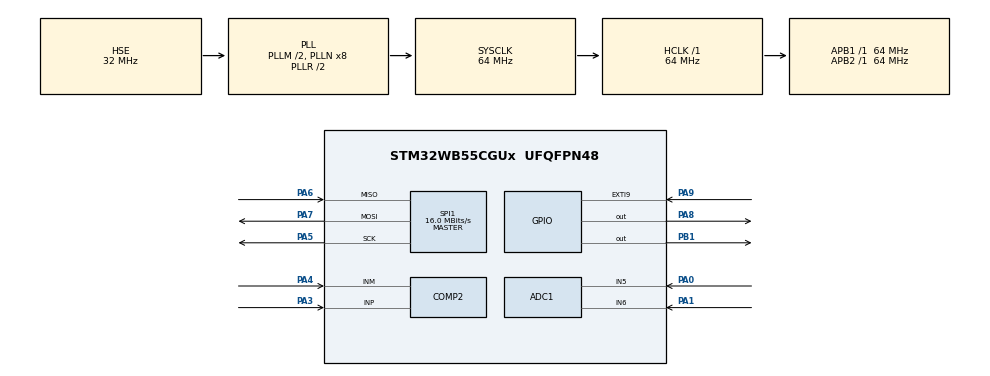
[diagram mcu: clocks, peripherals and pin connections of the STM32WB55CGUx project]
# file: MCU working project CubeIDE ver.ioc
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Mcu.Family=STM32WB
STM32_WPAN.SERVICE1_CHAR2_LONG_NAME=Phone_to_mcu_data_char
STM32_WPAN.SERVICE1_CHAR4_PROP_BROADCAST=\ 
STM32_WPAN.SERVICE1_CHAR5_SHORT_NAME=mcu_p_spcb
PA6.Mode=Full_Duplex_Master
RCC.CortexFreq_Value=64000000
SPI1.VirtualType=VM_MASTER
RF1.Signal=RF_RF1
Dma.ADC1.0.Polarity=HAL_DMAMUX_REQ_GEN_RISING
STM32_WPAN.CUSTOM_TEMPLATE=Enabled
STM32_WPAN.AD_TYPE_MANUFACTURER_SPECIFIC_DATA_COMPANY_IDENTIFIER=FF,FF
VP_RTC_VS_RTC_Activate.Mode=RTC_Enabled
RCC.SYSCLKSource=RCC_SYSCLKSOURCE_PLLCLK
ProjectManager.StackSize=0x10000
STM32_WPAN.SERVICE1_CHAR5_GATT_NOTIFY_WRITE_REQ_AND_WAIT_FOR_APPL_RESP=\ 
STM32_WPAN.NUMBER_OF_SERVICES=1
STM32_WPAN.SERVICE1_CHAR5_UUID=AD 06
PA4.Mode=INM
RCC.ADCCLockSelection=RCC_ADCCLKSOURCE_SYSCLK
SPI1.Direction=SPI_DIRECTION_2LINES
RCC.HCLKFreq_Value=64000000
STM32_WPAN.SERVICE1_CHAR3_LONG_NAME=MCU_to_phone_CPS_char
RCC.APB2TimFreq_Value=64000000
Dma.ADC1.0.Direction=DMA_PERIPH_TO_MEMORY
ADC1.InjNumberOfConversion=1
SPI1.CalculateBaudRate=16.0 MBits/s
STM32_WPAN.SERVICE1_CHAR4_GATT_NOTIFY_WRITE_REQ_AND_WAIT_FOR_APPL_RESP=\ 
STM32_WPAN.CFG_TX_POWER=(0x1F) /* 6dBm */
OSC_OUT.Mode=HSE-External-Oscillator
OSC_OUT.Signal=RCC_OSC_OUT
Dma.ADC1.0.MemDataAlignment=DMA_MDATAALIGN_HALFWORD
RCC.AHBFreq_Value=64000000
ADC1.Channel-0\#ChannelRegularConversion=ADC_CHANNEL_5
STM32_WPAN.SERVICE1_CHAR2_PROP_WRITE_WITHOUT_RESP=CHAR_PROP_WRITE_WITHOUT_RESP
RCC.HSE_VALUE=32000000
RCC.RTCClockSelection=RCC_RTCCLKSOURCE_LSE
STM32_WPAN.SERVICE1_CHAR1_UUID=AD 02
STM32_WPAN.PAIRING_PARAMETERS=OFF
STM32_WPAN.SERVICE1_UUID=AD 01
PC14-OSC32_IN.Mode=LSE-External-Oscillator
PB1.GPIO_Speed=GPIO_SPEED_FREQ_HIGH
PA14.Mode=Serial_Wire
STM32_WPAN.SERVICE1_SHORT_NAME=MMCUSer
STM32_WPAN.SERVICE1_CHAR5_LONG_NAME=MCU_to_phone_cpcb_char
Dma.ADC1.0.PeriphInc=DMA_PINC_DISABLE
SPI1.DataSize=SPI_DATASIZE_8BIT
STM32_WPAN.SERVICE1_CHAR3_PROP_READ=CHAR_PROP_READ
PA8.Signal=GPIO_Output
STM32_WPAN.INCLUDE_AD_TYPE_SHORTENED_LOCAL_NAME=1
STM32_WPAN.SERVICE1_CHAR2_PROP_BROADCAST=\ 
STM32_WPAN.INCLUDE_AD_TYPE_ADVERTISING_INTERVAL=0
STM32_WPAN.SERVICE1_CHAR2_GATT_NOTIFY_WRITE_REQ_AND_WAIT_FOR_APPL_RESP=\ 
ADC1.SamplingTime-0\#ChannelRegularConversion=ADC_SAMPLETIME_2CYCLES_5
PA0.Signal=ADCx_IN5
RCC.APB3Freq_Value=16000000
STM32_WPAN.SERVICE1_CHAR2_PROP_READ=CHAR_PROP_READ
STM32_WPAN.SERVICE1_CHAR2_VALUE_LENGTH=240
NVIC.HSEM_IRQn=true\:1\:0\:true\:false\:true\:false\:true
Mcu.Package=UFQFPN48
COMP2.Hysteresis=COMP_HYSTERESIS_MEDIUM
PB1.Signal=GPIO_Output
PA6.Signal=SPI1_MISO
STM32_WPAN.SERVICE1_CHAR3_VALUE_LENGTH=16
ADC1.EnableInjectedConversion=ENABLE
STM32_WPAN.INCLUDE_AD_TYPE_APPEARANCE=0
STM32_WPAN.SERVICE1_CHAR5_PROP_BROADCAST=\ 
STM32_WPAN.SERVICE1_CHAR4_SHORT_NAME=mcu_p_data
VP_TINY_LPM_VS_TINY_LPM.Mode=TINY_LPM_Enabled
ADC1.Rank1_Channel=ADC_CHANNEL_6
STM32_WPAN.AD_TYPE_SHORTENED_LOCAL_NAME_LENGTH=6
VP_HSEM_VS_HSEM.Mode=HSEM_Activate
STM32_WPAN.CFG_GAP_DEVICE_NAME=zombio_o
RCC.APB1TimFreq_Value=64000000
STM32_WPAN.SERVICE1_CHAR5_GATT_NOTIFY_READ_REQ_AND_WAIT_FOR_APPL_RESP=\ 
ADC1.InjectedOffsetNumber-1\#ChannelInjectedConversion=ADC_OFFSET_NONE
STM32_WPAN.SERVICE1_NUMBER_OF_CHARACTERISTICS=5
ADC1.InjectedSamplingTime-1\#ChannelInjectedConversion=ADC_SAMPLETIME_640CYCLES_5
Dma.Request0=ADC1
SPI1.BaudRatePrescaler=SPI_BAUDRATEPRESCALER_4
ADC1.InjectedChannel-1\#ChannelInjectedConversion=ADC_CHANNEL_6
PA8.GPIO_Speed=GPIO_SPEED_FREQ_HIGH
Dma.ADC1.0.EventEnable=DISABLE
RCC.HSI48_VALUE=48000000
STM32_WPAN.SERVICE1_CHAR4_LONG_NAME=MCU_to_phone_data_char
PA8.PinState=GPIO_PIN_SET
STM32_WPAN.INCLUDE_AD_TYPE_MANUFACTURER_SPECIFIC_DATA=1
PA3.Signal=COMP2_INP
PA5.Mode=Full_Duplex_Master
RCC.PLLSourceVirtual=RCC_PLLSOURCE_HSE
PC15-OSC32_OUT.Mode=LSE-External-Oscillator
STM32_WPAN.SERVICE1_CHAR2_SHORT_NAME=p_mcu_data
Dma.ADC1.0.Instance=DMA1_Channel1
ADC1.Rank-0\#ChannelRegularConversion=1
PA7.Mode=Full_Duplex_Master
VP_STM32_WPAN_VS_BLE_HOST.Mode=STM32_WPAN_Enabled
Dma.ADC1.0.SyncRequestNumber=1
SH.ADCx_IN6.0=ADC1_IN6,IN6-Single-Ended
STM32_WPAN.SERVICE1_CHAR4_GATT_NOTIFY_READ_REQ_AND_WAIT_FOR_APPL_RESP=\ 
ADC1.OffsetNumber-0\#ChannelRegularConversion=ADC_OFFSET_NONE
STM32_WPAN.INCLUDE_AD_TYPE_TX_POWER_LEVEL=1
STM32_WPAN.SERVICE1_CHAR1_PROP_BROADCAST=\ 
STM32_WPAN.SERVICE1_CHAR5_PROP_READ=CHAR_PROP_READ
STM32_WPAN.INCLUDE_AD_TYPE_URI=0
STM32_WPAN.SERVICE1_CHAR1_GATT_NOTIFY_WRITE_REQ_AND_WAIT_FOR_APPL_RESP=\ 
STM32_WPAN.SERVICE1_CHAR5_VALUE_LENGTH=20
PC14-OSC32_IN.Signal=RCC_OSC32_IN
STM32_WPAN.SERVICE1_CHAR3_GATT_NOTIFY_READ_REQ_AND_WAIT_FOR_APPL_RESP=\ 
RCC.AHB2CLKDivider=RCC_SYSCLK_DIV2
STM32_WPAN.SERVICE1_CHAR4_VALUE_LENGTH=240
STM32_WPAN.SERVICE1_CHAR4_UUID=AD 05
PA13.Signal=SYS_JTMS-SWDIO
PA3.Mode=INP
STM32_WPAN.AD_TYPE_MANUFACTURER_DATA_NBR=2
Dma.ADC1.0.PeriphDataAlignment=DMA_PDATAALIGN_HALFWORD
ProjectManager.TargetToolchain=STM32CubeIDE
STM32_WPAN.SERVICE1_CHAR5_PROP_NOTIFY=CHAR_PROP_NOTIFY
Dma.ADC1.0.Mode=DMA_CIRCULAR
STM32_WPAN.SERVICE1_CHAR3_PROP_NOTIFY=CHAR_PROP_NOTIFY
Dma.ADC1.0.SignalID=NONE
STM32_WPAN.SERVICE1_CHAR2_GATT_NOTIFY_READ_REQ_AND_WAIT_FOR_APPL_RESP=\ 
Dma.ADC1.0.SyncSignalID=NONE
STM32_WPAN.SERVICE1_CHAR4_PROP_NOTIFY=CHAR_PROP_NOTIFY
Dma.ADC1.0.Priority=DMA_PRIORITY_VERY_HIGH
PA9.Signal=GPXTI9
STM32_WPAN.INCLUDE_AD_TYPE_COMPLETE_LOCAL_NAME=0
STM32_WPAN.CUSTOM_P2P_SERVER=Disabled
OSC_IN.Signal=RCC_OSC_IN
RCC.USBFreq_Value=64000000
PC15-OSC32_OUT.Signal=RCC_OSC32_OUT
PA1.Signal=ADCx_IN6
PA5.Signal=SPI1_SCK
STM32_WPAN.SERVICE1_LONG_NAME=MainMCUService
STM32_WPAN.SERVICE1_CHAR4_PROP_READ=CHAR_PROP_READ
board=custom
STM32_WPAN.SERVICE1_CHAR1_GATT_NOTIFY_READ_REQ_AND_WAIT_FOR_APPL_RESP=\ 
VP_SEQUENCER_VS_SEQUENCER.Mode=SEQUENCER_Enabled
STM32_WPAN.AD_TYPE_COMPLETE_LOCAL_NAME_LENGTH=13
RCC.VCOOutputFreq_Value=128000000
Dma.ADC1.0.SyncPolarity=HAL_DMAMUX_SYNC_NO_EVENT
RCC.APB2Freq_Value=64000000
STM32_WPAN.AD_TYPE_MANUFACTURER_DATA_1=CA
SPI1.Mode=SPI_MODE_MASTER
STM32_WPAN.AD_TYPE_MANUFACTURER_DATA_2=FE
NVIC.COMP_IRQn=true\:0\:0\:false\:false\:true\:false\:true
RCC.ADCFreq_Value=64000000
STM32_WPAN.AD_TYPE_COMPLETE_LOCAL_NAME=ZSpectrum_XX
STM32_WPAN.SERVICE1_CHAR3_GATT_NOTIFY_WRITE_REQ_AND_WAIT_FOR_APPL_RESP=\ 
STM32_WPAN.SERVICE1_CHAR3_SHORT_NAME=mcu_p_cps
STM32_WPAN.SERVICE1_CHAR1_PROP_WRITE_WITHOUT_RESP=CHAR_PROP_WRITE_WITHOUT_RESP
PA13.Mode=Serial_Wire
Mcu.Name=STM32WB55CGUx
STM32_WPAN.SERVICE1_CHAR2_UUID=AD 03
STM32_WPAN.SERVICE1_CHAR3_PROP_BROADCAST=\ 
STM32_WPAN.SERVICE1_CHAR1_SHORT_NAME=p_mcu_cmd
PA4.Signal=COMP2_INM
RCC.SYSCLKFreq_VALUE=64000000
ADC1.master=1
ADC1.InjMonitoredBy-1\#ChannelInjectedConversion=__NULL
OSC_IN.Mode=HSE-External-Oscillator
STM32_WPAN.SERVICE1_CHAR1_VALUE_LENGTH=20
RF1.Mode=RF1_Activate
Dma.ADC1.0.RequestNumber=1
NVIC.EXTI9_5_IRQn=true\:1\:0\:true\:false\:true\:true\:true
Dma.ADC1.0.SyncEnable=DISABLE
PA14.Signal=SYS_JTCK-SWCLK
Dma.ADC1.0.MemInc=DMA_MINC_ENABLE
ProjectManager.HeapSize=0x400
RCC.HSI_VALUE=16000000
SH.ADCx_IN5.0=ADC1_IN5,IN5-Single-Ended
NVIC.PriorityGroup=NVIC_PRIORITYGROUP_4
ADC1.NbrOfConversionFlag=1
RCC.PLLM=RCC_PLLM_DIV2
PA9.GPIO_ModeDefaultEXTI=GPIO_MODE_IT_RISING_FALLING
STM32_WPAN.SERVICE1_CHAR1_LONG_NAME=Phone_to_mcu_command_char
ADC1.InjectedRank-1\#ChannelInjectedConversion=1
COMP2.TriggerMode=COMP_TRIGGERMODE_IT_RISING
NVIC.DMA1_Channel1_IRQn=true\:1\:0\:true\:false\:true\:false\:true
RCC.APB1Freq_Value=64000000
RCC.RFWKPClockSelection=RCC_RFWKPCLKSOURCE_LSE
STM32_WPAN.SERVICE1_CHAR3_UUID=AD 04
STM32_WPAN.AD_TYPE_SHORTENED_LOCAL_NAME=ZS_XX
PA7.Signal=SPI1_MOSI

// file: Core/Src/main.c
/* USER CODE BEGIN Header */
/**
  ******************************************************************************
  * @file           : main.c
  * @brief          : Main program body
  ******************************************************************************
  * @attention
  *
  * <h2><center>&copy; Copyright (c) 2021 STMicroelectronics.
  * All rights reserved.</center></h2>
  *
  * This software component is licensed by ST under Ultimate Liberty license
  * SLA0044, the "License"; You may not use this file except in compliance with
  * the License. You may obtain a copy of the License at:
  *                             www.st.com/SLA0044
  *
  ******************************************************************************
  */
/* USER CODE END Header */
#include "main.h"
#include "app_entry.h"
#include "app_common.h"

/* USER CODE BEGIN Includes */
#include "stm32_seq.h"
#include "System.h"
#include "SequencerTasks.h"
/* USER CODE END Includes */

ADC_HandleTypeDef hadc1;
DMA_HandleTypeDef hdma_adc1;

COMP_HandleTypeDef hcomp2;

RTC_HandleTypeDef hrtc;

SPI_HandleTypeDef hspi1;

void SystemClock_Config(void);
static void MX_GPIO_Init(void);
static void MX_DMA_Init(void);
static void MX_ADC1_Init(void);
static void MX_RF_Init(void);
static void MX_RTC_Init(void);
static void MX_COMP2_Init(void);
static void MX_SPI1_Init(void);

/* USER CODE BEGIN 0 */
extern uint8_t ad_data[];
/* USER CODE END 0 */

int main(void)
{
  /* USER CODE BEGIN 1 */
	InitSystemStructure();
  __enable_irq();
  /* USER CODE END 1 */

  /* MCU Configuration--------------------------------------------------------*/

  /* Reset of all peripherals, Initializes the Flash interface and the Systick. */
  HAL_Init();

  /* Configure the system clock */
  SystemClock_Config();

  /* Initialize all configured peripherals */
  MX_GPIO_Init();
  MX_DMA_Init();
  MX_ADC1_Init();
  MX_RF_Init();
  MX_RTC_Init();
  MX_COMP2_Init();
  MX_SPI1_Init();
  /* USER CODE BEGIN 2 */
  HAL_Delay(10);
  sys.tim16.initTimer();
  sys.tim17.initialize();
  sys.tim2.initialize();
  SPI1->CR1 |= SPI_CR1_SPE;
  if (sys.uSD.isAvailable())
  {
	  sys.fs.initialize("Project name:ZSpectrum\nVersion: 0.0.1", 1);
	  sys.fs.downloadSystemSettingsInfo(&sys.settings);
  }
  sys.dma.initialize(sys.settings.countsToDma);
  ad_data[8] = sys.settings.deviceNumber[0];
  ad_data[9] = sys.settings.deviceNumber[1];
  sys.adc.calibrateAndReinit();
  HAL_Delay(100);

  //reg tasks

  UTIL_SEQ_RegTask(1 << USER_TASK_PROCESS_FCW, UTIL_SEQ_RFU, ST_rf_ProcessFirstCharWrite);
  UTIL_SEQ_RegTask(1 << USER_TASK_PROCESS_SCW, UTIL_SEQ_RFU, ST_rf_ProcessSecondCharWrite);
  UTIL_SEQ_RegTask(1 << USER_TASK_UPDATE_CPS_CHAR, UTIL_SEQ_RFU, ST_rf_UpdateCPS);
  UTIL_SEQ_RegTask(1 << USER_TASK_INITIALIZE_FS, UTIL_SEQ_RFU, ST_fs_Initialize);
  UTIL_SEQ_RegTask(1 << USER_TASK_SAVE_SPECTR_POST_DELAYED, UTIL_SEQ_RFU, ST_fs_SaveSpectrPostDelayed);

  sys.tim17.turnOn();

  /* USER CODE END 2 */

  /* Init code for STM32_WPAN */
  APPE_Init();
  /* Infinite loop */
  while (1)
  {
	  UTIL_SEQ_Run(~0);
  }
}

void SystemClock_Config(void)
{
  RCC_OscInitTypeDef RCC_OscInitStruct = {0};
  RCC_ClkInitTypeDef RCC_ClkInitStruct = {0};
  RCC_PeriphCLKInitTypeDef PeriphClkInitStruct = {0};

  /** Configure LSE Drive Capability
  */
  HAL_PWR_EnableBkUpAccess();
  __HAL_RCC_LSEDRIVE_CONFIG(RCC_LSEDRIVE_LOW);
  /** Configure the main internal regulator output voltage
  */
  __HAL_PWR_VOLTAGESCALING_CONFIG(PWR_REGULATOR_VOLTAGE_SCALE1);
  /** Initializes the RCC Oscillators according to the specified parameters
  * in the RCC_OscInitTypeDef structure.
  */
  RCC_OscInitStruct.OscillatorType = RCC_OSCILLATORTYPE_HSI|RCC_OSCILLATORTYPE_HSE
                              |RCC_OSCILLATORTYPE_LSE;
  RCC_OscInitStruct.HSEState = RCC_HSE_ON;
  RCC_OscInitStruct.LSEState = RCC_LSE_ON;
  RCC_OscInitStruct.HSIState = RCC_HSI_ON;
  RCC_OscInitStruct.HSICalibrationValue = RCC_HSICALIBRATION_DEFAULT;
  RCC_OscInitStruct.PLL.PLLState = RCC_PLL_ON;
  RCC_OscInitStruct.PLL.PLLSource = RCC_PLLSOURCE_HSE;
  RCC_OscInitStruct.PLL.PLLM = RCC_PLLM_DIV2;
  RCC_OscInitStruct.PLL.PLLN = 8;
  RCC_OscInitStruct.PLL.PLLP = RCC_PLLP_DIV2;
  RCC_OscInitStruct.PLL.PLLR = RCC_PLLR_DIV2;
  RCC_OscInitStruct.PLL.PLLQ = RCC_PLLQ_DIV2;
  if (HAL_RCC_OscConfig(&RCC_OscInitStruct) != HAL_OK)
  {
    Error_Handler();
  }
  /** Configure the SYSCLKSource, HCLK, PCLK1 and PCLK2 clocks dividers
  */
  RCC_ClkInitStruct.ClockType = RCC_CLOCKTYPE_HCLK4|RCC_CLOCKTYPE_HCLK2
                              |RCC_CLOCKTYPE_HCLK|RCC_CLOCKTYPE_SYSCLK
                              |RCC_CLOCKTYPE_PCLK1|RCC_CLOCKTYPE_PCLK2;
  RCC_ClkInitStruct.SYSCLKSource = RCC_SYSCLKSOURCE_PLLCLK;
  RCC_ClkInitStruct.AHBCLKDivider = RCC_SYSCLK_DIV1;
  RCC_ClkInitStruct.APB1CLKDivider = RCC_HCLK_DIV1;
  RCC_ClkInitStruct.APB2CLKDivider = RCC_HCLK_DIV1;
  RCC_ClkInitStruct.AHBCLK2Divider = RCC_SYSCLK_DIV2;
  RCC_ClkInitStruct.AHBCLK4Divider = RCC_SYSCLK_DIV1;

  if (HAL_RCC_ClockConfig(&RCC_ClkInitStruct, FLASH_LATENCY_3) != HAL_OK)
  {
    Error_Handler();
  }
  /** Initializes the peripherals clocks
  */
  PeriphClkInitStruct.PeriphClockSelection = RCC_PERIPHCLK_SMPS|RCC_PERIPHCLK_RFWAKEUP
                              |RCC_PERIPHCLK_RTC|RCC_PERIPHCLK_ADC;
  PeriphClkInitStruct.AdcClockSelection = RCC_ADCCLKSOURCE_SYSCLK;
  PeriphClkInitStruct.RTCClockSelection = RCC_RTCCLKSOURCE_LSE;
  PeriphClkInitStruct.RFWakeUpClockSelection = RCC_RFWKPCLKSOURCE_LSE;
  PeriphClkInitStruct.SmpsClockSelection = RCC_SMPSCLKSOURCE_HSI;
  PeriphClkInitStruct.SmpsDivSelection = RCC_SMPSCLKDIV_RANGE1;
  if (HAL_RCCEx_PeriphCLKConfig(&PeriphClkInitStruct) != HAL_OK)
  {
    Error_Handler();
  }
}

static void MX_ADC1_Init(void)
{

  ADC_ChannelConfTypeDef sConfig = {0};
  ADC_InjectionConfTypeDef sConfigInjected = {0};

  /** Common config
  */
  hadc1.Instance = ADC1;
  hadc1.Init.ClockPrescaler = ADC_CLOCK_ASYNC_DIV1;
  hadc1.Init.Resolution = ADC_RESOLUTION_12B;
  hadc1.Init.DataAlign = ADC_DATAALIGN_RIGHT;
  hadc1.Init.ScanConvMode = ADC_SCAN_DISABLE;
  hadc1.Init.EOCSelection = ADC_EOC_SINGLE_CONV;
  hadc1.Init.LowPowerAutoWait = DISABLE;
  hadc1.Init.ContinuousConvMode = DISABLE;
  hadc1.Init.NbrOfConversion = 1;
  hadc1.Init.DiscontinuousConvMode = DISABLE;
  hadc1.Init.ExternalTrigConv = ADC_SOFTWARE_START;
  hadc1.Init.ExternalTrigConvEdge = ADC_EXTERNALTRIGCONVEDGE_NONE;
  hadc1.Init.DMAContinuousRequests = DISABLE;
  hadc1.Init.Overrun = ADC_OVR_DATA_PRESERVED;
  hadc1.Init.OversamplingMode = DISABLE;
  if (HAL_ADC_Init(&hadc1) != HAL_OK)
  {
    Error_Handler();
  }
  /** Disable Injected Queue
  */
  HAL_ADCEx_DisableInjectedQueue(&hadc1);
  /** Configure Regular Channel
  */
  sConfig.Channel = ADC_CHANNEL_5;
  sConfig.Rank = ADC_REGULAR_RANK_1;
  sConfig.SamplingTime = ADC_SAMPLETIME_2CYCLES_5;
  sConfig.SingleDiff = ADC_SINGLE_ENDED;
  sConfig.OffsetNumber = ADC_OFFSET_NONE;
  sConfig.Offset = 0;
  if (HAL_ADC_ConfigChannel(&hadc1, &sConfig) != HAL_OK)
  {
    Error_Handler();
  }
  /** Configure Injected Channel
  */
  sConfigInjected.InjectedChannel = ADC_CHANNEL_6;
  sConfigInjected.InjectedRank = ADC_INJECTED_RANK_1;
  sConfigInjected.InjectedSamplingTime = ADC_SAMPLETIME_640CYCLES_5;
  sConfigInjected.InjectedSingleDiff = ADC_SINGLE_ENDED;
  sConfigInjected.InjectedOffsetNumber = ADC_OFFSET_NONE;
  sConfigInjected.InjectedOffset = 0;
  sConfigInjected.InjectedNbrOfConversion = 1;
  sConfigInjected.InjectedDiscontinuousConvMode = DISABLE;
  sConfigInjected.AutoInjectedConv = DISABLE;
  sConfigInjected.QueueInjectedContext = DISABLE;
  sConfigInjected.ExternalTrigInjecConv = ADC_INJECTED_SOFTWARE_START;
  sConfigInjected.ExternalTrigInjecConvEdge = ADC_EXTERNALTRIGINJECCONV_EDGE_NONE;
  sConfigInjected.InjecOversamplingMode = DISABLE;
  if (HAL_ADCEx_InjectedConfigChannel(&hadc1, &sConfigInjected) != HAL_OK)
  {
    Error_Handler();
  }

}

static void MX_COMP2_Init(void)
{

  hcomp2.Instance = COMP2;
  hcomp2.Init.InputMinus = COMP_INPUT_MINUS_IO4;
  hcomp2.Init.InputPlus = COMP_INPUT_PLUS_IO3;
  hcomp2.Init.OutputPol = COMP_OUTPUTPOL_NONINVERTED;
  hcomp2.Init.Hysteresis = COMP_HYSTERESIS_MEDIUM;
  hcomp2.Init.BlankingSrce = COMP_BLANKINGSRC_NONE;
  hcomp2.Init.Mode = COMP_POWERMODE_HIGHSPEED;
  hcomp2.Init.WindowMode = COMP_WINDOWMODE_DISABLE;
  hcomp2.Init.TriggerMode = COMP_TRIGGERMODE_IT_RISING;
  if (HAL_COMP_Init(&hcomp2) != HAL_OK)
  {
    Error_Handler();
  }

}

static void MX_RF_Init(void)
{

}

static void MX_RTC_Init(void)
{

  /** Initialize RTC Only
  */
  hrtc.Instance = RTC;
  hrtc.Init.HourFormat = RTC_HOURFORMAT_24;
  hrtc.Init.AsynchPrediv = CFG_RTC_ASYNCH_PRESCALER;
  hrtc.Init.SynchPrediv = CFG_RTC_SYNCH_PRESCALER;
  hrtc.Init.OutPut = RTC_OUTPUT_DISABLE;
  hrtc.Init.OutPutPolarity = RTC_OUTPUT_POLARITY_HIGH;
  hrtc.Init.OutPutType = RTC_OUTPUT_TYPE_OPENDRAIN;
  hrtc.Init.OutPutRemap = RTC_OUTPUT_REMAP_NONE;
  if (HAL_RTC_Init(&hrtc) != HAL_OK)
  {
    Error_Handler();
  }

}

static void MX_SPI1_Init(void)
{

  /* SPI1 parameter configuration*/
  hspi1.Instance = SPI1;
  hspi1.Init.Mode = SPI_MODE_MASTER;
  hspi1.Init.Direction = SPI_DIRECTION_2LINES;
  hspi1.Init.DataSize = SPI_DATASIZE_8BIT;
  hspi1.Init.CLKPolarity = SPI_POLARITY_LOW;
  hspi1.Init.CLKPhase = SPI_PHASE_1EDGE;
  hspi1.Init.NSS = SPI_NSS_SOFT;
  hspi1.Init.BaudRatePrescaler = SPI_BAUDRATEPRESCALER_4;
  hspi1.Init.FirstBit = SPI_FIRSTBIT_MSB;
  hspi1.Init.TIMode = SPI_TIMODE_DISABLE;
  hspi1.Init.CRCCalculation = SPI_CRCCALCULATION_DISABLE;
  hspi1.Init.CRCPolynomial = 7;
  hspi1.Init.CRCLength = SPI_CRC_LENGTH_DATASIZE;
  hspi1.Init.NSSPMode = SPI_NSS_PULSE_ENABLE;
  if (HAL_SPI_Init(&hspi1) != HAL_OK)
  {
    Error_Handler();
  }

}

static void MX_DMA_Init(void)
{

  /* DMA controller clock enable */
  __HAL_RCC_DMAMUX1_CLK_ENABLE();
  __HAL_RCC_DMA1_CLK_ENABLE();

  /* DMA interrupt init */
  /* DMA1_Channel1_IRQn interrupt configuration */
  HAL_NVIC_SetPriority(DMA1_Channel1_IRQn, 1, 0);
  HAL_NVIC_EnableIRQ(DMA1_Channel1_IRQn);

}

static void MX_GPIO_Init(void)
{
  GPIO_InitTypeDef GPIO_InitStruct = {0};

  /* GPIO Ports Clock Enable */
  __HAL_RCC_GPIOC_CLK_ENABLE();
  __HAL_RCC_GPIOA_CLK_ENABLE();
  __HAL_RCC_GPIOB_CLK_ENABLE();

  /*Configure GPIO pin Output Level */
  HAL_GPIO_WritePin(GPIOA, GPIO_PIN_8, GPIO_PIN_SET);

  /*Configure GPIO pin Output Level */
  HAL_GPIO_WritePin(GPIOB, GPIO_PIN_1, GPIO_PIN_RESET);

  /*Configure GPIO pin : PA8 */
  GPIO_InitStruct.Pin = GPIO_PIN_8;
  GPIO_InitStruct.Mode = GPIO_MODE_OUTPUT_PP;
  GPIO_InitStruct.Pull = GPIO_NOPULL;
  GPIO_InitStruct.Speed = GPIO_SPEED_FREQ_HIGH;
  HAL_GPIO_Init(GPIOA, &GPIO_InitStruct);

  /*Configure GPIO pin : PA9 */
  GPIO_InitStruct.Pin = GPIO_PIN_9;
  GPIO_InitStruct.Mode = GPIO_MODE_IT_RISING_FALLING;
  GPIO_InitStruct.Pull = GPIO_NOPULL;
  HAL_GPIO_Init(GPIOA, &GPIO_InitStruct);

  /*Configure GPIO pin : PB1 */
  GPIO_InitStruct.Pin = GPIO_PIN_1;
  GPIO_InitStruct.Mode = GPIO_MODE_OUTPUT_PP;
  GPIO_InitStruct.Pull = GPIO_NOPULL;
  GPIO_InitStruct.Speed = GPIO_SPEED_FREQ_HIGH;
  HAL_GPIO_Init(GPIOB, &GPIO_InitStruct);

  /* EXTI interrupt init*/
  HAL_NVIC_SetPriority(EXTI9_5_IRQn, 1, 0);
  HAL_NVIC_EnableIRQ(EXTI9_5_IRQn);

}

void Error_Handler(void)
{
  __disable_irq();
  while (1)
  {
  }
}

/************************ (C) COPYRIGHT STMicroelectronics *****END OF FILE****/
